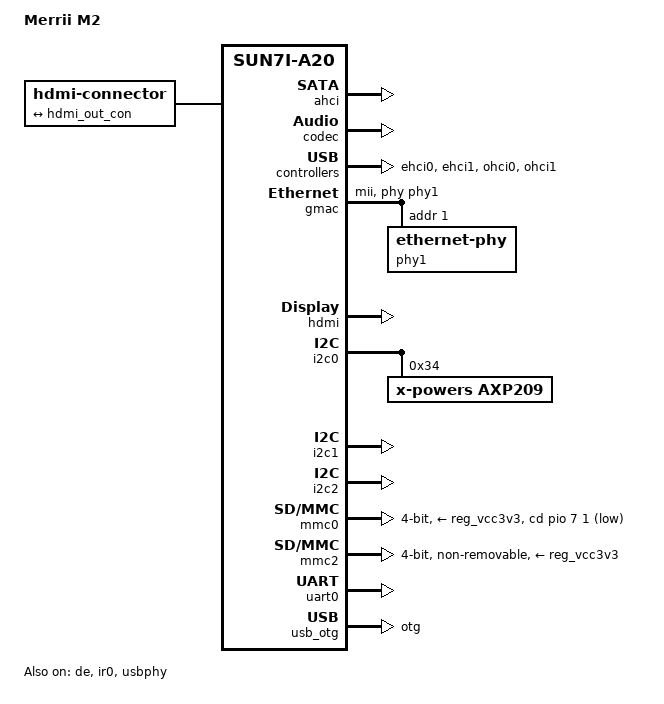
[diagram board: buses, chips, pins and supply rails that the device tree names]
/dts-v1/;
#include "sun7i-a20.dtsi"
#include "sunxi-common-regulators.dtsi"

#include <dt-bindings/gpio/gpio.h>
#include <dt-bindings/interrupt-controller/irq.h>

/ {
	model = "Merrii M2";
	compatible = "merrii,m2", "allwinner,sun7i-a20";

	aliases {
		serial0 = &uart0;
	};

	chosen {
		stdout-path = "serial0:115200n8";
	};

	hdmi-connector {
		compatible = "hdmi-connector";
		type = "a";

		port {
			hdmi_con_in: endpoint {
				remote-endpoint = <&hdmi_out_con>;
			};
		};
	};
/*
	sound {
		compatible = "simple-audio-card";
		simple-audio-card,name = "On-board SPDIF";

		simple-audio-card,cpu {
			sound-dai = <&spdif>;
		};

		simple-audio-card,codec {
			sound-dai = <&spdif_out>;
		};
	};

	spdif_out: spdif-out {
		#sound-dai-cells = <0>;
		compatible = "linux,spdif-dit";
	};
*/

};

&ahci {
	target-supply = <&reg_ahci_5v>;
	status = "okay";
};

&de {
	status = "okay";
};

&codec {
	allwinner,pa = <&pio 7 25 GPIO_ACTIVE_HIGH>;
	allwinner,pa-gpios = <&pio 7 25 GPIO_ACTIVE_HIGH>;
	status = "okay";
};

&ehci0 {
	status = "okay";
};

&ehci1 {
	status = "okay";
};

&otg_sram {
	status = "okay";
};

&gmac {
	pinctrl-names = "default";
	pinctrl-0 = <&gmac_mii_pins>;
	phy = <&phy1>;
	phy-mode = "mii";
	status = "okay";

	phy1: ethernet-phy@1 {
		reg = <1>;
	};
};

&hdmi {
	status = "okay";
};

&hdmi_out {
	hdmi_out_con: endpoint {
		remote-endpoint = <&hdmi_con_in>;
	};
};

&i2c0 {
	status = "okay";

	axp209: pmic@34 {
		compatible = "x-powers,axp209";
		reg = <0x34>;
		interrupt-parent = <&nmi_intc>;
		interrupts = <0 IRQ_TYPE_LEVEL_LOW>;

		interrupt-controller;
		#interrupt-cells = <1>;
	};
};

&i2c1 {
	pinctrl-names = "default";
	status = "okay";
};

&i2c2 {
	status = "okay";
};
/*
&i2s2 {
	status = "okay";
};
*/
/* maybe useful for i2s2*/
/*
&spi2 {
	pinctrl-names = "default";
	pinctrl-0 = <&spi2_pb_pins>,
		    <&spi2_cs0_pb_pin>;
	status = "okay";
};
*/
&ir0 {
	pinctrl-names = "default";
	pinctrl-0 = <&ir0_rx_pin>;
	status = "okay";
};

&mmc0 {
	vmmc-supply = <&reg_vcc3v3>;
	bus-width = <4>;
	cd-gpios = <&pio 7 1 GPIO_ACTIVE_LOW>; /* PH1 */
	status = "okay";
};

&mmc2 {
	vmmc-supply = <&reg_vcc3v3>;
	bus-width = <4>;
	non-removable;
	status = "okay";
};

&ohci0 {
	status = "okay";
};

&ohci1 {
	status = "okay";
};

&reg_ahci_5v {
	gpio = <&pio 7 12 GPIO_ACTIVE_HIGH>;
	status = "okay";
};

&reg_usb1_vbus {
	status = "okay";
};

&reg_usb2_vbus {
	status = "okay";
};

&spdif {
//	pinctrl-names = "default";
//	pinctrl-0 = <&spdif_tx_pin>;
	status = "disabled";
};

&uart0 {
	pinctrl-names = "default";
	pinctrl-0 = <&uart0_pb_pins>;
	status = "okay";
};
/*
&uart2 {
	pinctrl-names = "default";
	pinctrl-0 = <&uart2_pi_pins>;
	status = "okay";
};

&uart3 {
	pinctrl-names = "default";
	pinctrl-0 = <&uart3_pg_pins>;
	status = "okay";
};

&uart4 {
	pinctrl-names = "default";
	pinctrl-0 = <&uart4_pg_pins>;
	status = "okay";
};

&uart5 {
	pinctrl-names = "default";
	pinctrl-0 = <&uart5_pi_pins>;
	status = "okay";
};

&uart6{
	pinctrl-names = "default";
	pinctrl-0 = <&uart6_pi_pins>;
	status = "okay";
};

&uart7 {
	pinctrl-names = "default";
	pinctrl-0 = <&uart7_pi_pins>;
	status = "okay";
};
*/
&usb_otg {
	dr_mode = "otg";
	status = "okay";
};

&usbphy {
	usb1_vbus-supply = <&reg_usb1_vbus>;
	usb2_vbus-supply = <&reg_usb2_vbus>;
	status = "okay";
};
